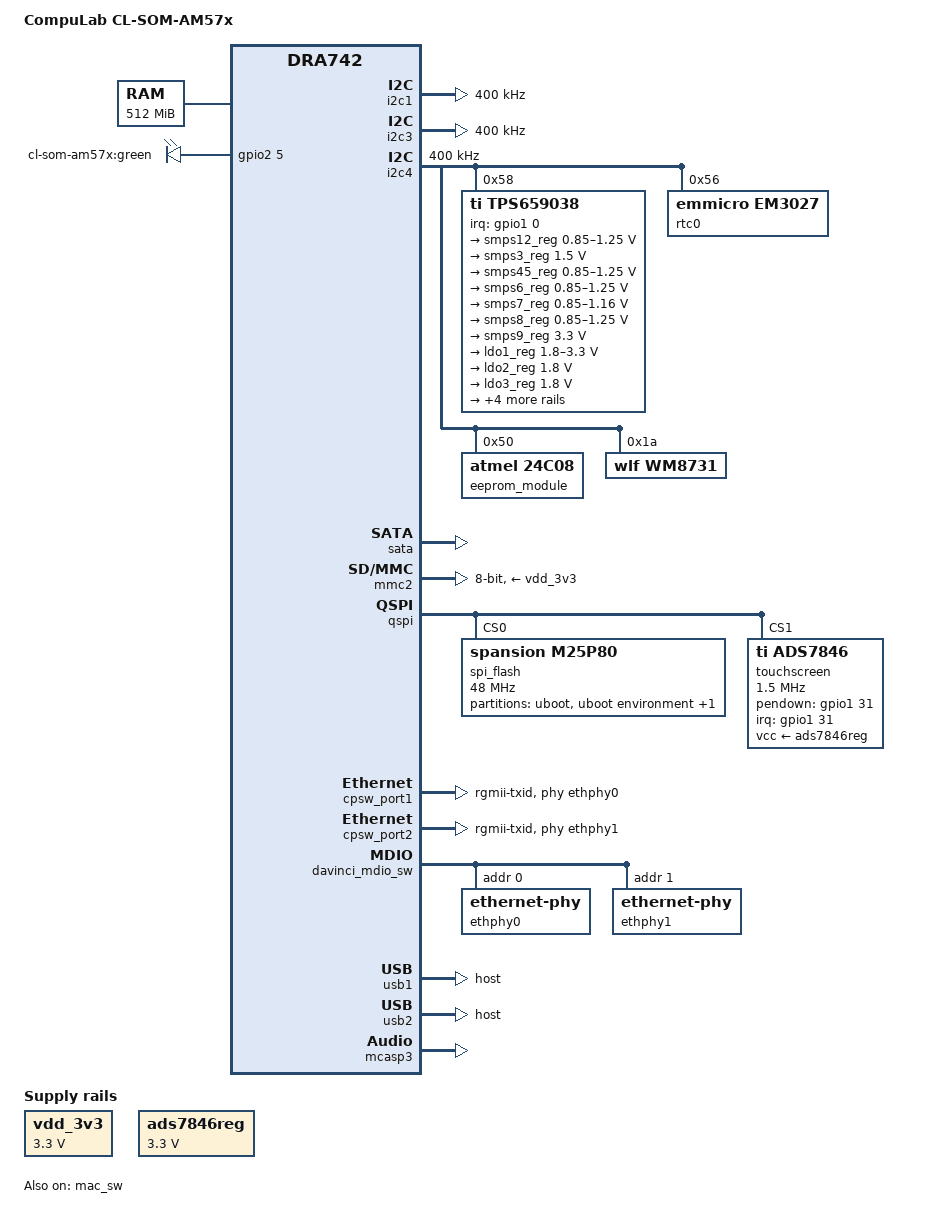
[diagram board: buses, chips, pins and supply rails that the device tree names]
// SPDX-License-Identifier: GPL-2.0-only
/*
 * Support for CompuLab CL-SOM-AM57x System-on-Module
 *
 * Copyright (C) 2015 CompuLab Ltd. - http://www.compulab.co.il/
 * Author: Dmitry Lifshitz <lifshitz@compulab.co.il>
 */

/dts-v1/;

#include <dt-bindings/gpio/gpio.h>
#include <dt-bindings/interrupt-controller/irq.h>
#include "am5728.dtsi"

/ {
	model = "CompuLab CL-SOM-AM57x";
	compatible = "compulab,cl-som-am57x", "ti,am5728", "ti,dra742", "ti,dra74", "ti,dra7";

	memory@0 {
		device_type = "memory";
		reg = <0x0 0x80000000 0x0 0x20000000>; /* 512 MB - minimal configuration */
	};

	leds {
		compatible = "gpio-leds";
		pinctrl-names = "default";
		pinctrl-0 = <&leds_pins_default>;

		led0 {
			label = "cl-som-am57x:green";
			gpios = <&gpio2 5 GPIO_ACTIVE_HIGH>;
			linux,default-trigger = "heartbeat";
			default-state = "off";
		};
	};

	vdd_3v3: fixedregulator-vdd_3v3 {
		compatible = "regulator-fixed";
		regulator-name = "vdd_3v3";
		regulator-min-microvolt = <3300000>;
		regulator-max-microvolt = <3300000>;
	};

	ads7846reg: fixedregulator-ads7846-reg {
		compatible = "regulator-fixed";
		regulator-name = "ads7846-reg";
		regulator-min-microvolt = <3300000>;
		regulator-max-microvolt = <3300000>;
	};

	sound0: sound0 {
		compatible = "simple-audio-card";
		simple-audio-card,name = "CL-SOM-AM57x-Sound-Card";
		simple-audio-card,format = "i2s";
		simple-audio-card,bitclock-master = <&dailink0_master>;
		simple-audio-card,frame-master = <&dailink0_master>;
		simple-audio-card,widgets =
					"Headphone", "Headphone Jack",
					"Microphone", "Microphone Jack",
					"Line", "Line Jack";
		simple-audio-card,routing =
					"Headphone Jack", "RHPOUT",
					"Headphone Jack", "LHPOUT",
					"LLINEIN", "Line Jack",
					"MICIN", "Mic Bias",
					"Mic Bias", "Microphone Jack";

		dailink0_master: simple-audio-card,cpu {
			sound-dai = <&mcasp3>;
		};

		simple-audio-card,codec {
			sound-dai = <&wm8731>;
			system-clock-frequency = <12000000>;
		};
	};
};

&dra7_pmx_core {
	leds_pins_default: leds_pins_default {
		pinctrl-single,pins = <
			DRA7XX_CORE_IOPAD(0x347c, PIN_OUTPUT | MUX_MODE14)	/* gpmc_a15.gpio2_5 */
		>;
	};

	i2c1_pins_default: i2c1_pins_default {
		pinctrl-single,pins = <
			DRA7XX_CORE_IOPAD(0x3800, PIN_INPUT_PULLUP | MUX_MODE0)	/* i2c1_sda.sda */
			DRA7XX_CORE_IOPAD(0x3804, PIN_INPUT_PULLUP | MUX_MODE0)	/* i2c1_scl.scl */
		>;
	};

	i2c3_pins_default: i2c3_pins_default {
		pinctrl-single,pins = <
			DRA7XX_CORE_IOPAD(0x36a4, PIN_INPUT| MUX_MODE10)	/* mcasp1_aclkx.i2c3_sda */
			DRA7XX_CORE_IOPAD(0x36a8, PIN_INPUT| MUX_MODE10)	/* mcasp1_fsx.i2c3_scl */
		>;
	};

	i2c4_pins_default: i2c4_pins_default {
		pinctrl-single,pins = <
			DRA7XX_CORE_IOPAD(0x36ac, PIN_INPUT| MUX_MODE10)	/* mcasp1_acl.i2c4_sda */
			DRA7XX_CORE_IOPAD(0x36b0, PIN_INPUT| MUX_MODE10)	/* mcasp1_fsr.i2c4_scl */
		>;
	};

	tps659038_pins_default: tps659038_pins_default {
		pinctrl-single,pins = <
			DRA7XX_CORE_IOPAD(0x3818, PIN_INPUT_PULLUP | MUX_MODE14) /* wakeup0.gpio1_0 */
		>;
	};

	mmc2_pins_default: mmc2_pins_default {
		pinctrl-single,pins = <
			DRA7XX_CORE_IOPAD(0x349c, PIN_INPUT_PULLUP | MUX_MODE1) /* gpmc_a23.mmc2_clk */
			DRA7XX_CORE_IOPAD(0x34b0, PIN_INPUT_PULLUP | MUX_MODE1) /* gpmc_cs1.mmc2_cmd */
			DRA7XX_CORE_IOPAD(0x34a0, PIN_INPUT_PULLUP | MUX_MODE1) /* gpmc_a24.mmc2_dat0 */
			DRA7XX_CORE_IOPAD(0x34a4, PIN_INPUT_PULLUP | MUX_MODE1) /* gpmc_a25.mmc2_dat1 */
			DRA7XX_CORE_IOPAD(0x34a8, PIN_INPUT_PULLUP | MUX_MODE1) /* gpmc_a26.mmc2_dat2 */
			DRA7XX_CORE_IOPAD(0x34ac, PIN_INPUT_PULLUP | MUX_MODE1) /* gpmc_a27.mmc2_dat3 */
			DRA7XX_CORE_IOPAD(0x348c, PIN_INPUT_PULLUP | MUX_MODE1) /* gpmc_a19.mmc2_dat4 */
			DRA7XX_CORE_IOPAD(0x3490, PIN_INPUT_PULLUP | MUX_MODE1) /* gpmc_a20.mmc2_dat5 */
			DRA7XX_CORE_IOPAD(0x3494, PIN_INPUT_PULLUP | MUX_MODE1) /* gpmc_a21.mmc2_dat6 */
			DRA7XX_CORE_IOPAD(0x3498, PIN_INPUT_PULLUP | MUX_MODE1) /* gpmc_a22.mmc2_dat7 */
		>;
	};

	qspi1_pins: pinmux_qspi1_pins {
		pinctrl-single,pins = <
			DRA7XX_CORE_IOPAD(0x3474, PIN_INPUT | MUX_MODE1)	/* gpmc_a13.qspi1_rtclk */
			DRA7XX_CORE_IOPAD(0x3480, PIN_INPUT | MUX_MODE1)	/* gpmc_a16.qspi1_d0 */
			DRA7XX_CORE_IOPAD(0x3484, PIN_INPUT | MUX_MODE1)	/* gpmc_a17.qspi1_d1 */
			DRA7XX_CORE_IOPAD(0x3488, PIN_INPUT | MUX_MODE1)	/* qpmc_a18.qspi1_sclk */
			DRA7XX_CORE_IOPAD(0x34b8, PIN_INPUT_PULLUP | MUX_MODE1)	/* gpmc_cs2.qspi1_cs0 */
			DRA7XX_CORE_IOPAD(0x34bc, PIN_INPUT_PULLUP | MUX_MODE1)	/* gpmc_cs3.qspi1_cs1 */
		>;
	};

	cpsw_pins_default: cpsw_pins_default {
		pinctrl-single,pins = <
			/* Slave at addr 0x0 */
			DRA7XX_CORE_IOPAD(0x3650, PIN_OUTPUT | MUX_MODE0)	/* rgmii0_tclk */
			DRA7XX_CORE_IOPAD(0x3654, PIN_OUTPUT | MUX_MODE0)	/* rgmii0_tctl */
			DRA7XX_CORE_IOPAD(0x3658, PIN_OUTPUT | MUX_MODE0)	/* rgmii0_td3 */
			DRA7XX_CORE_IOPAD(0x365c, PIN_OUTPUT | MUX_MODE0)	/* rgmii0_td2 */
			DRA7XX_CORE_IOPAD(0x3660, PIN_OUTPUT | MUX_MODE0)	/* rgmii0_td1 */
			DRA7XX_CORE_IOPAD(0x3664, PIN_OUTPUT | MUX_MODE0)	/* rgmii0_td0 */
			DRA7XX_CORE_IOPAD(0x3668, PIN_INPUT_PULLDOWN | MUX_MODE0) /* rgmii0_rclk */
			DRA7XX_CORE_IOPAD(0x366c, PIN_INPUT_PULLDOWN | MUX_MODE0) /* rgmii0_rctl */
			DRA7XX_CORE_IOPAD(0x3670, PIN_INPUT_PULLDOWN | MUX_MODE0) /* rgmii0_rd3 */
			DRA7XX_CORE_IOPAD(0x3674, PIN_INPUT_PULLDOWN | MUX_MODE0) /* rgmii0_rd2 */
			DRA7XX_CORE_IOPAD(0x3678, PIN_INPUT_PULLDOWN | MUX_MODE0) /* rgmii0_rd1 */
			DRA7XX_CORE_IOPAD(0x367c, PIN_INPUT_PULLDOWN | MUX_MODE0) /* rgmii0_rd0 */

			/* Slave at addr 0x1 */
			DRA7XX_CORE_IOPAD(0x3598, PIN_OUTPUT | MUX_MODE3)	/* vin2a_d12.rgmii1_tclk */
			DRA7XX_CORE_IOPAD(0x359c, PIN_OUTPUT | MUX_MODE3)	/* vin2a_d13.rgmii1_tctl */
			DRA7XX_CORE_IOPAD(0x35a0, PIN_OUTPUT | MUX_MODE3)	/* vin2a_d14.rgmii1_td3 */
			DRA7XX_CORE_IOPAD(0x35a4, PIN_OUTPUT | MUX_MODE3)	/* vin2a_d15.rgmii1_td2 */
			DRA7XX_CORE_IOPAD(0x35a8, PIN_OUTPUT | MUX_MODE3)	/* vin2a_d16.rgmii1_td1 */
			DRA7XX_CORE_IOPAD(0x35ac, PIN_OUTPUT | MUX_MODE3)	/* vin2a_d17.rgmii1_td0 */
			DRA7XX_CORE_IOPAD(0x35b0, PIN_INPUT_PULLDOWN | MUX_MODE3) /* vin2a_d18.rgmii1_rclk */
			DRA7XX_CORE_IOPAD(0x35b4, PIN_INPUT_PULLDOWN | MUX_MODE3) /* vin2a_d19.rgmii1_rctl */
			DRA7XX_CORE_IOPAD(0x35b8, PIN_INPUT_PULLDOWN | MUX_MODE3) /* vin2a_d20.rgmii1_rd3 */
			DRA7XX_CORE_IOPAD(0x35bc, PIN_INPUT_PULLDOWN | MUX_MODE3) /* vin2a_d21.rgmii1_rd2 */
			DRA7XX_CORE_IOPAD(0x35c0, PIN_INPUT_PULLDOWN | MUX_MODE3) /* vin2a_d22.rgmii1_rd1 */
			DRA7XX_CORE_IOPAD(0x35c4, PIN_INPUT_PULLDOWN | MUX_MODE3) /* vin2a_d23.rgmii1_rd0 */
		>;
	};

	cpsw_pins_sleep: cpsw_pins_sleep {
		pinctrl-single,pins = <
			/* Slave 1 */
			DRA7XX_CORE_IOPAD(0x3650, PIN_INPUT | MUX_MODE15)
			DRA7XX_CORE_IOPAD(0x3654, PIN_INPUT | MUX_MODE15)
			DRA7XX_CORE_IOPAD(0x3658, PIN_INPUT | MUX_MODE15)
			DRA7XX_CORE_IOPAD(0x365c, PIN_INPUT | MUX_MODE15)
			DRA7XX_CORE_IOPAD(0x3660, PIN_INPUT | MUX_MODE15)
			DRA7XX_CORE_IOPAD(0x3664, PIN_INPUT | MUX_MODE15)
			DRA7XX_CORE_IOPAD(0x3668, PIN_INPUT | MUX_MODE15)
			DRA7XX_CORE_IOPAD(0x366c, PIN_INPUT | MUX_MODE15)
			DRA7XX_CORE_IOPAD(0x3670, PIN_INPUT | MUX_MODE15)
			DRA7XX_CORE_IOPAD(0x3674, PIN_INPUT | MUX_MODE15)
			DRA7XX_CORE_IOPAD(0x3678, PIN_INPUT | MUX_MODE15)
			DRA7XX_CORE_IOPAD(0x367c, PIN_INPUT | MUX_MODE15)

			/* Slave 2 */
			DRA7XX_CORE_IOPAD(0x3598, PIN_INPUT | MUX_MODE15)
			DRA7XX_CORE_IOPAD(0x359c, PIN_INPUT | MUX_MODE15)
			DRA7XX_CORE_IOPAD(0x35a0, PIN_INPUT | MUX_MODE15)
			DRA7XX_CORE_IOPAD(0x35a4, PIN_INPUT | MUX_MODE15)
			DRA7XX_CORE_IOPAD(0x35a8, PIN_INPUT | MUX_MODE15)
			DRA7XX_CORE_IOPAD(0x35ac, PIN_INPUT | MUX_MODE15)
			DRA7XX_CORE_IOPAD(0x35b0, PIN_INPUT | MUX_MODE15)
			DRA7XX_CORE_IOPAD(0x35b4, PIN_INPUT | MUX_MODE15)
			DRA7XX_CORE_IOPAD(0x35b8, PIN_INPUT | MUX_MODE15)
			DRA7XX_CORE_IOPAD(0x35bc, PIN_INPUT | MUX_MODE15)
			DRA7XX_CORE_IOPAD(0x35c0, PIN_INPUT | MUX_MODE15)
			DRA7XX_CORE_IOPAD(0x35c4, PIN_INPUT | MUX_MODE15)
		>;
	};

	davinci_mdio_pins_default: davinci_mdio_pins_default {
		pinctrl-single,pins = <
			/* MDIO */
			DRA7XX_CORE_IOPAD(0x3590, PIN_OUTPUT_PULLUP | MUX_MODE3)/* vin2a_d10.mdio_mclk */
			DRA7XX_CORE_IOPAD(0x3594, PIN_INPUT_PULLUP | MUX_MODE3)	/* vin2a_d11.mdio_d */
		>;
	};

	davinci_mdio_pins_sleep: davinci_mdio_pins_sleep {
		pinctrl-single,pins = <
			DRA7XX_CORE_IOPAD(0x3590, PIN_INPUT | MUX_MODE15)
			DRA7XX_CORE_IOPAD(0x3594, PIN_INPUT | MUX_MODE15)
		>;
	};

	ads7846_pins: pinmux_ads7846_pins {
		pinctrl-single,pins = <
			DRA7XX_CORE_IOPAD(0x3464, PIN_INPUT_PULLDOWN | MUX_MODE14) /* gpmc_a9.gpio1_31 */
		>;
	};

	mcasp3_pins_default: mcasp3_pins_default {
		pinctrl-single,pins = <
			DRA7XX_CORE_IOPAD(0x3724, PIN_INPUT_PULLDOWN | MUX_MODE0) /* mcasp3_aclkx.mcasp3_aclkx */
			DRA7XX_CORE_IOPAD(0x3728, PIN_INPUT_PULLDOWN | MUX_MODE0) /* mcasp3_fsx.mcasp3_fsx */
			DRA7XX_CORE_IOPAD(0x372c, PIN_OUTPUT_PULLDOWN | MUX_MODE0) /* mcasp3_axr0.mcasp3_axr0 */
			DRA7XX_CORE_IOPAD(0x3730, PIN_INPUT_PULLDOWN | MUX_MODE0) /* mcasp3_axr1.mcasp3_axr1 */
		>;
	};

	mcasp3_pins_sleep: mcasp3_pins_sleep {
		pinctrl-single,pins = <
			DRA7XX_CORE_IOPAD(0x3724, PIN_INPUT | MUX_MODE15)
			DRA7XX_CORE_IOPAD(0x3728, PIN_INPUT | MUX_MODE15)
			DRA7XX_CORE_IOPAD(0x372c, PIN_INPUT | MUX_MODE15)
			DRA7XX_CORE_IOPAD(0x3730, PIN_INPUT | MUX_MODE15)
		>;
	};
};

&i2c1 {
	status = "okay";
	pinctrl-names = "default";
	pinctrl-0 = <&i2c1_pins_default>;
	clock-frequency = <400000>;
};

&i2c3 {
	status = "okay";
	pinctrl-names = "default";
	pinctrl-0 = <&i2c3_pins_default>;
	clock-frequency = <400000>;
};

&i2c4 {
	status = "okay";
	pinctrl-names = "default";
	pinctrl-0 = <&i2c4_pins_default>;
	clock-frequency = <400000>;

	tps659038: tps659038@58 {
		compatible = "ti,tps659038";
		reg = <0x58>;
		interrupt-parent = <&gpio1>;
		interrupts = <0 IRQ_TYPE_LEVEL_LOW>;

		pinctrl-names = "default";
		pinctrl-0 = <&tps659038_pins_default>;

		#interrupt-cells = <2>;
		interrupt-controller;

		ti,system-power-controller;

		tps659038_pmic {
			compatible = "ti,tps659038-pmic";

			regulators {
				smps12_reg: smps12 {
					/* VDD_MPU */
					regulator-name = "smps12";
					regulator-min-microvolt = < 850000>;
					regulator-max-microvolt = <1250000>;
					regulator-always-on;
					regulator-boot-on;
				};

				smps3_reg: smps3 {
					/* VDD_DDR */
					regulator-name = "smps3";
					regulator-min-microvolt = <1500000>;
					regulator-max-microvolt = <1500000>;
					regulator-always-on;
					regulator-boot-on;
				};

				smps45_reg: smps45 {
					/* VDD_DSPEVE */
					regulator-name = "smps45";
					regulator-min-microvolt = < 850000>;
					regulator-max-microvolt = <1250000>;
					regulator-always-on;
					regulator-boot-on;
				};

				smps6_reg: smps6 {
					/* VDD_GPU */
					regulator-name = "smps6";
					regulator-min-microvolt = < 850000>;
					regulator-max-microvolt = <1250000>;
					regulator-always-on;
					regulator-boot-on;
				};

				smps7_reg: smps7 {
					/* VDD_CORE */
					regulator-name = "smps7";
					regulator-min-microvolt = < 850000>;
					regulator-max-microvolt = <1160000>;
					regulator-always-on;
					regulator-boot-on;
				};

				smps8_reg: smps8 {
					/* VDD_IVA */
					regulator-name = "smps8";
					regulator-min-microvolt = < 850000>;
					regulator-max-microvolt = <1250000>;
					regulator-always-on;
					regulator-boot-on;
				};

				smps9_reg: smps9 {
					/* PMIC_3V3 */
					regulator-name = "smps9";
					regulator-min-microvolt = <3300000>;
					regulator-max-microvolt = <3300000>;
					regulator-always-on;
					regulator-boot-on;
				};


				ldo1_reg: ldo1 {
					/* VDD_SD / VDDSHV8  */
					regulator-name = "ldo1";
					regulator-min-microvolt = <1800000>;
					regulator-max-microvolt = <3300000>;
					regulator-boot-on;
					regulator-always-on;
				};

				ldo2_reg: ldo2 {
					/* VDD_1V8 */
					regulator-name = "ldo2";
					regulator-min-microvolt = <1800000>;
					regulator-max-microvolt = <1800000>;
					regulator-always-on;
					regulator-boot-on;
				};

				ldo3_reg: ldo3 {
					/* VDDA_1V8_PHYA - supplies VDDA_SATA, VDDA_USB1/2/3 */
					regulator-name = "ldo3";
					regulator-min-microvolt = <1800000>;
					regulator-max-microvolt = <1800000>;
					regulator-always-on;
					regulator-boot-on;
				};

				ldo4_reg: ldo4 {
					/* VDDA_1V8_PHYB - supplies VDDA_HDMI, VDDA_PCIE/0/1 */
					regulator-name = "ldo4";
					regulator-min-microvolt = <1800000>;
					regulator-max-microvolt = <1800000>;
					regulator-always-on;
					regulator-boot-on;
				};

				ldo9_reg: ldo9 {
					/* VDD_RTC */
					regulator-name = "ldo9";
					regulator-min-microvolt = <1050000>;
					regulator-max-microvolt = <1050000>;
					regulator-always-on;
					regulator-boot-on;
				};

				ldoln_reg: ldoln {
					/* VDDA_1V8_PLL */
					regulator-name = "ldoln";
					regulator-min-microvolt = <1800000>;
					regulator-max-microvolt = <1800000>;
					regulator-always-on;
					regulator-boot-on;
				};

				ldousb_reg: ldousb {
					/* VDDA_3V_USB: VDDA_USBHS33 */
					regulator-name = "ldousb";
					regulator-min-microvolt = <3300000>;
					regulator-max-microvolt = <3300000>;
					regulator-always-on;
					regulator-boot-on;
				};

				/* regen1 not used */
			};
		};

		tps659038_pwr_button: tps659038_pwr_button {
			compatible = "ti,palmas-pwrbutton";
			interrupt-parent = <&tps659038>;
			interrupts = <1 IRQ_TYPE_EDGE_FALLING>;
			wakeup-source;
			ti,palmas-long-press-seconds = <12>;
		};

		tps659038_gpio: tps659038_gpio {
			compatible = "ti,palmas-gpio";
			gpio-controller;
			#gpio-cells = <2>;
		};
	};

	rtc0: rtc@56 {
		compatible = "emmicro,em3027";
		reg = <0x56>;
	};

	eeprom_module: atmel@50 {
		compatible = "atmel,24c08";
		reg = <0x50>;
		pagesize = <16>;
	};

	wm8731: wm8731@1a {
		#sound-dai-cells = <0>;
		compatible = "wlf,wm8731";
		reg = <0x1a>;
		status = "okay";
	};
};

&cpu0 {
	cpu0-supply = <&smps12_reg>;
	voltage-tolerance = <1>;
};

&sata {
	status = "okay";
};

&mailbox5 {
	status = "okay";
	mbox_ipu1_ipc3x: mbox_ipu1_ipc3x {
		status = "okay";
	};
	mbox_dsp1_ipc3x: mbox_dsp1_ipc3x {
		status = "okay";
	};
};

&mailbox6 {
	status = "okay";
	mbox_ipu2_ipc3x: mbox_ipu2_ipc3x {
		status = "okay";
	};
	mbox_dsp2_ipc3x: mbox_dsp2_ipc3x {
		status = "okay";
	};
};

&mmc2 {
	status = "okay";

	pinctrl-names = "default";
	pinctrl-0 = <&mmc2_pins_default>;

	vmmc-supply = <&vdd_3v3>;
	bus-width = <8>;
	ti,non-removable;
	cap-mmc-dual-data-rate;
};

&qspi {
	status = "okay";
	pinctrl-names = "default";
	pinctrl-0 = <&qspi1_pins>;

	spi-max-frequency = <48000000>;

	spi_flash: spi_flash@0 {
		#address-cells = <1>;
		#size-cells = <1>;
		compatible = "spansion,m25p80", "jedec,spi-nor";
		reg = <0>;				/* CS0 */
		spi-max-frequency = <48000000>;

		partition@0 {
			label = "uboot";
			reg = <0x0 0xc0000>;
		};

		partition@c0000 {
			label = "uboot environment";
			reg = <0xc0000 0x40000>;
		};

		partition@100000 {
			label = "reserved";
			reg = <0x100000 0x0>;
		};
	};

	/* touch controller */
	touchscreen@1 {
		pinctrl-names = "default";
		pinctrl-0 = <&ads7846_pins>;

		compatible = "ti,ads7846";
		vcc-supply = <&ads7846reg>;

		reg = <1>;                              /* CS1 */
		spi-max-frequency = <1500000>;

		interrupt-parent = <&gpio1>;
		interrupts = <31 0>;
		pendown-gpio = <&gpio1 31 0>;


		ti,x-min = /bits/ 16 <0x0>;
		ti,x-max = /bits/ 16 <0x0fff>;
		ti,y-min = /bits/ 16 <0x0>;
		ti,y-max = /bits/ 16 <0x0fff>;

		ti,x-plate-ohms = /bits/ 16 <180>;
		ti,pressure-max = /bits/ 16 <255>;

		ti,debounce-max = /bits/ 16 <30>;
		ti,debounce-tol = /bits/ 16 <10>;
		ti,debounce-rep = /bits/ 16 <1>;

		wakeup-source;
	};
};

&mac_sw {
	status = "okay";
	pinctrl-names = "default", "sleep";
	pinctrl-0 = <&cpsw_pins_default>;
	pinctrl-1 = <&cpsw_pins_sleep>;
};

&cpsw_port1 {
	phy-handle = <&ethphy0>;
	phy-mode = "rgmii-txid";
	ti,dual-emac-pvid = <1>;
};

&cpsw_port2 {
	phy-handle = <&ethphy1>;
	phy-mode = "rgmii-txid";
	ti,dual-emac-pvid = <2>;
};

&davinci_mdio_sw {
	pinctrl-names = "default", "sleep";
	pinctrl-0 = <&davinci_mdio_pins_default>;
	pinctrl-1 = <&davinci_mdio_pins_sleep>;

	ethphy0: ethernet-phy@0 {
		reg = <0>;
	};

	ethphy1: ethernet-phy@1 {
		reg = <1>;
	};
};

&usb2_phy1 {
	phy-supply = <&ldousb_reg>;
};

&usb2_phy2 {
	phy-supply = <&ldousb_reg>;
};

&usb1 {
	dr_mode = "host";
};

&usb2 {
	dr_mode = "host";
};

&mcasp3 {
	#sound-dai-cells = <0>;
	pinctrl-names = "default", "sleep";
	pinctrl-0 = <&mcasp3_pins_default>;
	pinctrl-1 = <&mcasp3_pins_sleep>;
	status = "okay";

	op-mode = <0>;	/* MCASP_IIS_MODE */
	tdm-slots = <2>;
	/* 4 serializers */
	serial-dir = <	/* 0: INACTIVE, 1: TX, 2: RX */
		1 2 0 0
	>;
};

&gpio3 {
	status = "okay";
	ti,no-reset-on-init;
};

&gpio2 {
	status = "okay";
	ti,no-reset-on-init;
};
